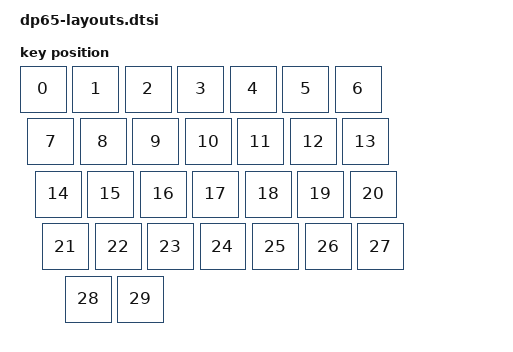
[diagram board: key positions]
#include <physical_layouts.dtsi>

/ {
    default_layout: default_layout {
        compatible = "zmk,physical-layout";
        display-name = "Default Layout";
        transform = <&default_transform>;
        kscan = <&kscan>;

        keys  //                     w   h    x    y     rot    rx    ry
            = <&key_physical_attrs 100 100    0    0       0     0     0>
            , <&key_physical_attrs 100 100  105    0       0     0     0>
            , <&key_physical_attrs 100 100  210    0       0     0     0>
            , <&key_physical_attrs 100 100  315    0       0     0     0>
            , <&key_physical_attrs 100 100  420    0       0     0     0>
            , <&key_physical_attrs 100 100  525    0       0     0     0>
            , <&key_physical_attrs 100 100  630    0       0     0     0>
            , <&key_physical_attrs 100 100   15  105       0     0     0>
            , <&key_physical_attrs 100 100  120  105       0     0     0>
            , <&key_physical_attrs 100 100  225  105       0     0     0>
            , <&key_physical_attrs 100 100  330  105       0     0     0>
            , <&key_physical_attrs 100 100  435  105       0     0     0>
            , <&key_physical_attrs 100 100  540  105       0     0     0>
            , <&key_physical_attrs 100 100  645  105       0     0     0>
            , <&key_physical_attrs 100 100   30  210       0     0     0>
            , <&key_physical_attrs 100 100  135  210       0     0     0>
            , <&key_physical_attrs 100 100  240  210       0     0     0>
            , <&key_physical_attrs 100 100  345  210       0     0     0>
            , <&key_physical_attrs 100 100  450  210       0     0     0>
            , <&key_physical_attrs 100 100  555  210       0     0     0>
            , <&key_physical_attrs 100 100  660  210       0     0     0>
            , <&key_physical_attrs 100 100   45  315       0     0     0>
            , <&key_physical_attrs 100 100  150  315       0     0     0>
            , <&key_physical_attrs 100 100  255  315       0     0     0>
            , <&key_physical_attrs 100 100  360  315       0     0     0>
            , <&key_physical_attrs 100 100  465  315       0     0     0>
            , <&key_physical_attrs 100 100  570  315       0     0     0>
            , <&key_physical_attrs 100 100  675  315       0     0     0>
            , <&key_physical_attrs 100 100   90  420       0     0     0>
            , <&key_physical_attrs 100 100  195  420       0     0     0>
            ;
    };
};
